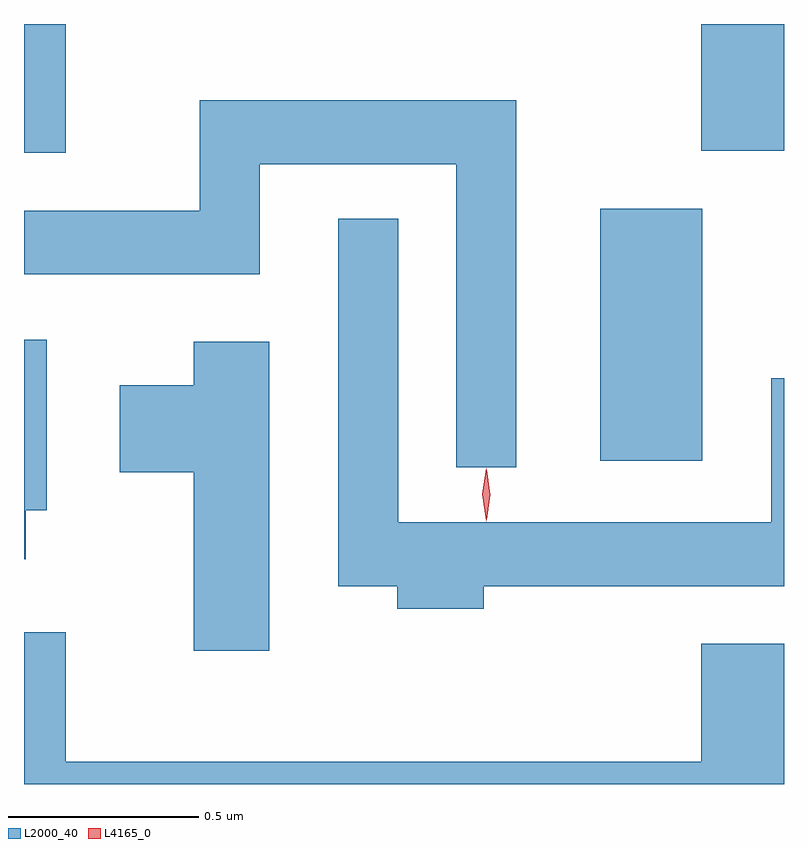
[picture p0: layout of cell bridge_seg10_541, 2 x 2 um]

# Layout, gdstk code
import gdstk
lib = gdstk.Library(unit=1e-6, precision=1e-09)
def R(c, l, rs):  # rectangles x0, y0, x1, y1
    for r in rs: c.add(gdstk.rectangle(r[:2], r[2:], *l))
def P(c, l, *ps):  # polygons
    for p in ps: c.add(gdstk.Polygon(p, *l))
L2000_40 = (2000, 40)
L4165_0 = (4165, 0)

bridge_seg10_541 = lib.new_cell('bridge_seg10_541')
R(bridge_seg10_541, L2000_40, [(897.536,2166.036,897.804,2166.699), (896.019,2166.846,896.129,2167.185), (897.801,2166.851,898.019,2167.185)])
P(bridge_seg10_541, L2000_40, [(897.314,2166.984),(896.481,2166.984),(896.481,2166.694),(896.019,2166.694),(896.019,2166.526),(896.639,2166.526),(896.639,2166.816),(897.156,2166.816),(897.156,2166.018),(897.314,2166.018)],
  [(897.229,2165.706),(898.019,2165.706),(898.019,2166.253),(897.986,2166.253),(897.986,2165.874),(897.004,2165.874),(897.004,2166.673),(896.846,2166.673),(896.846,2165.706),(897.001,2165.706),(897.001,2165.646),(897.229,2165.646)],
  [(896.024,2165.906),(896.079,2165.906),(896.079,2166.354),(896.019,2166.354),(896.019,2165.776),(896.024,2165.776)],
  [(896.664,2166.349),(896.466,2166.349),(896.466,2166.234),(896.271,2166.234),(896.271,2166.006),(896.466,2166.006),(896.466,2165.536),(896.664,2165.536)],
  [(898.019,2165.554),(897.801,2165.554),(897.801,2165.244),(896.129,2165.244),(896.129,2165.584),(896.019,2165.584),(896.019,2165.185),(898.019,2165.185)])
P(bridge_seg10_541, L4165_0, [(897.235,2165.877),(897.235,2165.878),(897.225,2165.947),(897.235,2166.016),(897.235,2166.016),(897.236,2166.016),(897.245,2165.947),(897.236,2165.878)],
  [(897.236,2165.879),(897.236,2165.88),(897.226,2165.946),(897.236,2166.012),(897.236,2166.013),(897.237,2166.012),(897.246,2165.946),(897.237,2165.88)])

lib.write_gds('bridge_seg10_541.gds')
